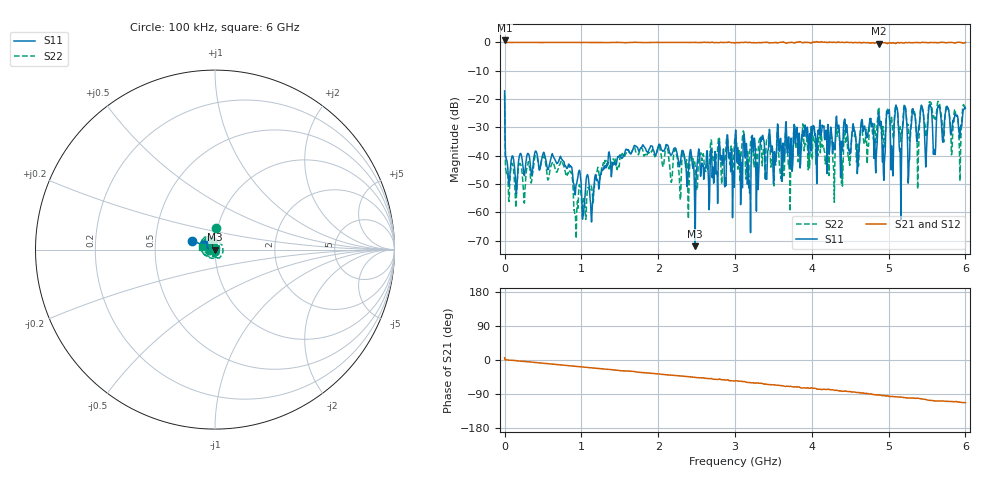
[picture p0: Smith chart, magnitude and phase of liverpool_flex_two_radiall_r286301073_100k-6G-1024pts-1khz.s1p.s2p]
# GHZ S RI R 50.000000000000
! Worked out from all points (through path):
!   1024 points, 100 kHz to 6 GHz, reference 50 ohm
!   highest |S21| = 0.66 dB at 100 kHz (marker M1); lowest = -0.5 dB at 4.874 GHz (marker M2)
!   group delay of S21, straight-line fit = 53.1 ps
!   lowest |S11| = -71.9 dB at 2.481 GHz (marker M3), VSWR 1.00, Z = 50 - j0.0152 ohm
!   |S11| at or under -10 dB: start of sweep to end of sweep
!   |S22| runs from -69.2 to -18.5 dB; largest |S21 - S12| = 0.19
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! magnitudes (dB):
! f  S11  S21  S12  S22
! 100 kHz  -17.1  0.7  -0.6  -18.5
! 41.16 MHz  -44.4  -0.1  0.0  -47.0
! 739.1 MHz  -41.1  0.0  0.0  -41.8
! 926.8 MHz  -51.2  0.0  0.0  -64.0
! 1.003 GHz  -53.7  0.0  0.0  -56.5
! 2.006 GHz  -36.3  0.0  0.0  -36.3
! 2.481 GHz  -71.9  0.0  0.0  -43.7
! 3.003 GHz  -33.0  -0.2  -0.3  -33.3
! 3.613 GHz  -47.2  0.0  0.0  -49.0
! 4.006 GHz  -33.1  0.0  -0.1  -41.4
! 4.874 GHz  -25.5  -0.5  -0.3  -23.0
! 4.938 GHz  -48.7  -0.1  -0.1  -35.0
! 5.003 GHz  -24.0  -0.2  -0.3  -24.9
! 5.05 GHz  -44.6  -0.2  -0.2  -30.6
! 5.103 GHz  -22.8  -0.2  -0.3  -23.2
! 5.161 GHz  -62.5  -0.1  -0.1  -32.8
! 5.208 GHz  -22.3  -0.2  -0.3  -22.0
! 5.267 GHz  -41.9  0.0  0.0  -34.2
! 5.431 GHz  -22.4  -0.1  -0.2  -22.7
! 5.484 GHz  -44.0  0.0  0.0  -32.6
! 5.924 GHz  -33.8  0.0  0.0  -40.5
! 6 GHz  -23.3  -0.1  -0.1  -22.7
